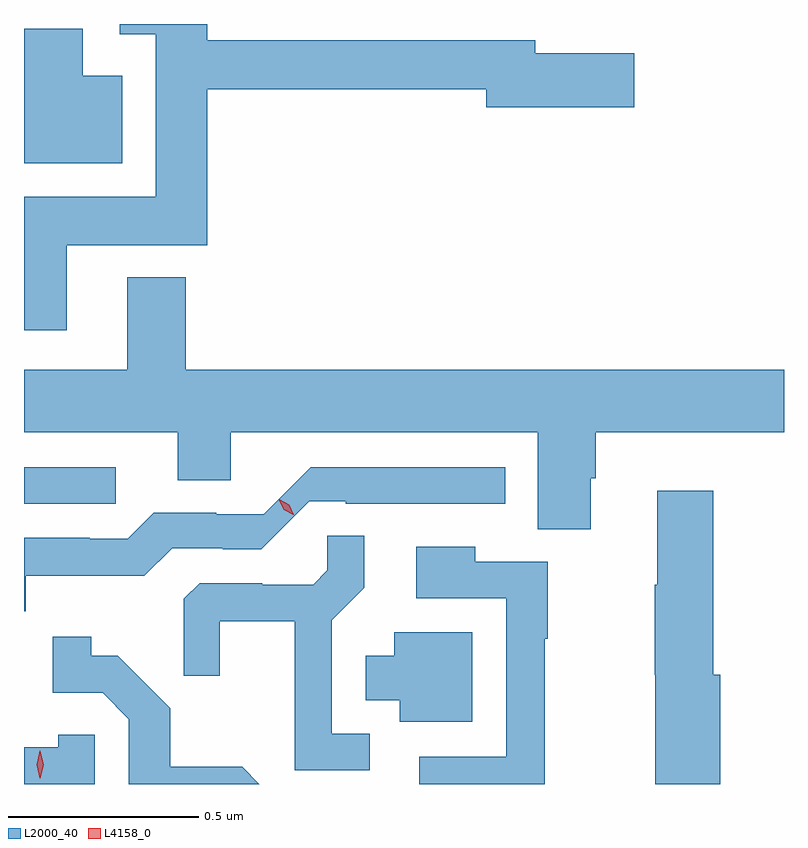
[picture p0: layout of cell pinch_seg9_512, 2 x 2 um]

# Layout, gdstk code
import gdstk
lib = gdstk.Library(unit=1e-6, precision=1e-09)
def R(c, l, rs):  # rectangles x0, y0, x1, y1
    for r in rs: c.add(gdstk.rectangle(r[:2], r[2:], *l))
def P(c, l, *ps):  # polygons
    for p in ps: c.add(gdstk.Polygon(p, *l))
L2000_40 = (2000, 40)
L4158_0 = (4158, 0)

pinch_seg9_512 = lib.new_cell('pinch_seg9_512')
R(pinch_seg9_512, L2000_40, [(383.685,1204.224,383.926,1204.32)])
P(pinch_seg9_512, L2000_40, [(383.797,1204.904),(384.167,1204.904),(384.167,1205.314),(384.902,1205.314),(384.902,1205.267),(385.291,1205.267),(385.291,1205.409),(385.03,1205.409),(385.03,1205.443),(384.167,1205.443),(384.167,1205.486),(383.937,1205.486),(383.937,1205.459),(384.032,1205.459),(384.032,1205.032),(383.685,1205.032),(383.685,1204.68),(383.797,1204.68)],
  [(383.944,1205.35),(383.839,1205.35),(383.839,1205.473),(383.685,1205.473),(383.685,1205.12),(383.944,1205.12)],
  [(385.177,1204.29),(385.19,1204.29),(385.19,1204.412),(385.685,1204.412),(385.685,1204.576),(384.11,1204.576),(384.11,1204.819),(383.957,1204.819),(383.957,1204.576),(383.685,1204.576),(383.685,1204.412),(384.089,1204.412),(384.089,1204.285),(384.229,1204.285),(384.229,1204.412),(385.037,1204.412),(385.037,1204.156),(385.177,1204.156)],
  [(383.689,1204.034),(384.002,1204.034),(384.075,1204.107),(384.208,1204.107),(384.208,1204.104),(384.309,1204.104),(384.435,1204.23),(384.532,1204.23),(384.532,1204.224),(384.952,1204.224),(384.952,1204.32),(384.44,1204.32),(384.316,1204.196),(384.191,1204.196),(384.191,1204.2),(384.027,1204.2),(383.958,1204.131),(383.858,1204.131),(383.858,1204.134),(383.685,1204.134),(383.685,1203.941),(383.689,1203.941)],
  [(385.517,1203.774),(385.499,1203.774),(385.499,1204.258),(385.352,1204.258),(385.352,1204.01),(385.345,1204.01),(385.345,1203.774),(385.346,1203.774),(385.346,1203.486),(385.517,1203.486)],
  [(384.595,1203.618),(384.495,1203.618),(384.495,1203.917),(384.581,1204.003),(384.581,1204.139),(384.483,1204.139),(384.483,1204.048),(384.446,1204.011),(384.312,1204.011),(384.312,1204.014),(384.147,1204.014),(384.106,1203.973),(384.106,1203.771),(384.2,1203.771),(384.2,1203.914),(384.398,1203.914),(384.398,1203.522),(384.595,1203.522)],
  [(385.055,1203.868),(385.063,1203.868),(385.063,1204.071),(384.873,1204.071),(384.873,1204.111),(384.717,1204.111),(384.717,1203.975),(384.954,1203.975),(384.954,1203.558),(384.725,1203.558),(384.725,1203.486),(385.055,1203.486)],
  [(384.865,1203.886),(384.659,1203.886),(384.659,1203.823),(384.584,1203.823),(384.584,1203.707),(384.674,1203.707),(384.674,1203.65),(384.865,1203.65)],
  [(384.259,1203.531),(384.07,1203.531),(384.07,1203.686),(383.932,1203.824),(383.862,1203.824),(383.862,1203.874),(383.761,1203.874),(383.761,1203.726),(383.892,1203.726),(383.961,1203.657),(383.961,1203.486),(384.304,1203.486)],
  [(383.871,1203.615),(383.775,1203.615),(383.775,1203.583),(383.685,1203.583),(383.685,1203.486),(383.871,1203.486)])
P(pinch_seg9_512, L4158_0, [(383.727,1203.501),(383.718,1203.537),(383.727,1203.573),(383.728,1203.573),(383.728,1203.573),(383.737,1203.537),(383.728,1203.501),(383.728,1203.501)],
  [(384.394,1204.194),(384.368,1204.208),(384.356,1204.235),(384.356,1204.235),(384.357,1204.235),(384.383,1204.221),(384.395,1204.194),(384.395,1204.194)])

lib.write_gds('pinch_seg9_512.gds')
